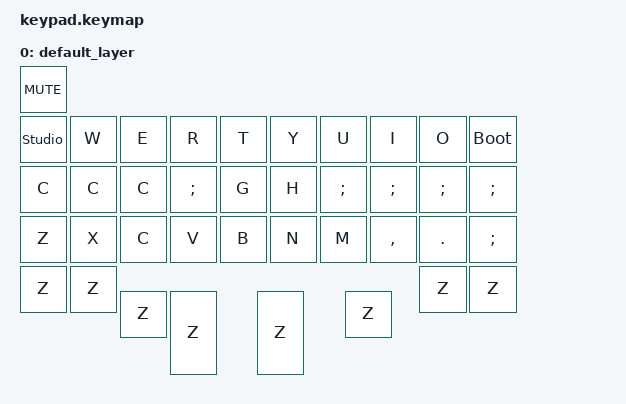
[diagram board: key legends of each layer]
/*
 * Copyright (c) 2022 weteor
 *
 * SPDX-License-Identifier: MIT
 */

#include <behaviors.dtsi>
#include <dt-bindings/zmk/keys.h>
#include <dt-bindings/zmk/bt.h>


/ {

    keymap {
        compatible = "zmk,keymap";

        default_layer {
            bindings = <
                &kp C_MUTE
                &studio_unlock &kp W       &kp E       &kp R       &kp T     &kp Y       &kp U       &kp I       &kp O       &bootloader
                &kp C          &kp C       &kp C       &kp SEMI    &kp G     &kp H       &kp SEMI    &kp SEMI    &kp SEMI    &kp SEMI
                &kp Z          &kp X       &kp C       &kp V       &kp B     &kp N       &kp M       &kp COMMA   &kp DOT     &kp SEMI
                &kp Z          &kp Z                &kp Z  &kp Z    &kp Z     &kp Z                              &kp Z       &kp Z
            >;
            //sensor-bindings = <&inc_dec_kp C_VOL_DN C_VOL_UP>;
        };      
        
    };
};
